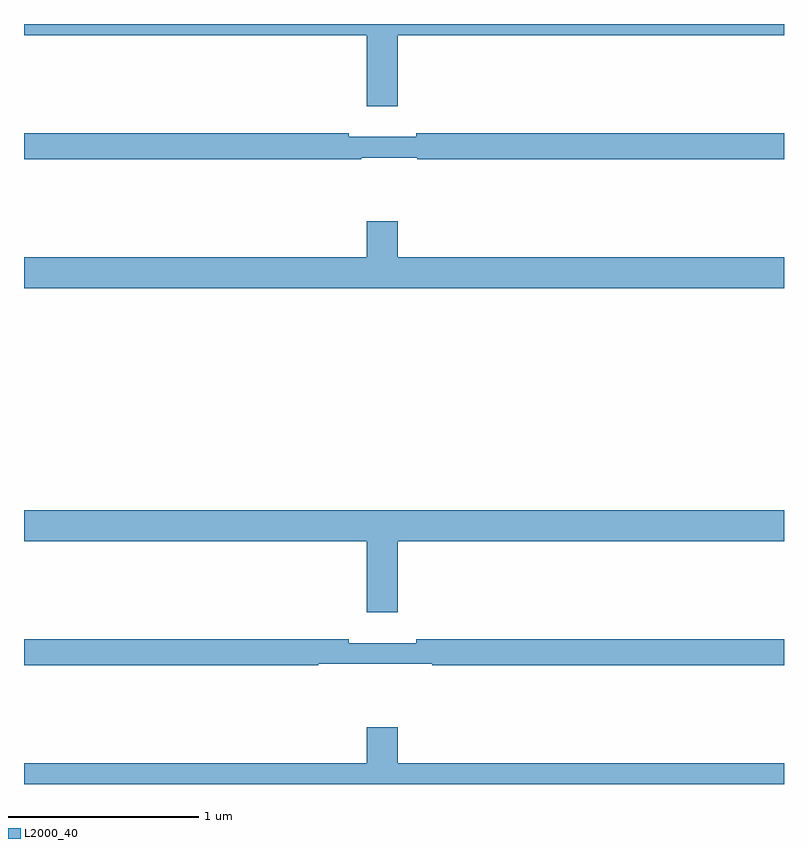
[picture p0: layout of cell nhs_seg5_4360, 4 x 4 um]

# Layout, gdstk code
import gdstk
lib = gdstk.Library(unit=1e-6, precision=1e-09)
def P(c, l, *ps):  # polygons
    for p in ps: c.add(gdstk.Polygon(p, *l))
L2000_40 = (2000, 40)

nhs_seg5_4360 = lib.new_cell('nhs_seg5_4360')
P(nhs_seg5_4360, L2000_40, [(368.968,876.74),(371,876.74),(371,876.799),(367,876.799),(367,876.74),(368.804,876.74),(368.804,876.366),(368.968,876.366)],
  [(368.775,876.096),(369.07,876.096),(369.07,876.088),(371,876.088),(371,876.224),(369.064,876.224),(369.064,876.205),(368.708,876.205),(368.708,876.224),(367,876.224),(367,876.088),(368.775,876.088)],
  [(371,875.572),(368.968,875.572),(368.968,875.761),(368.804,875.761),(368.804,875.572),(367,875.572),(367,875.408),(371,875.408)],
  [(368.968,874.076),(371,874.076),(371,874.24),(367,874.24),(367,874.076),(368.804,874.076),(368.804,873.702),(368.968,873.702)],
  [(368.548,873.432),(369.148,873.432),(369.148,873.424),(371,873.424),(371,873.56),(369.064,873.56),(369.064,873.541),(368.708,873.541),(368.708,873.56),(367,873.56),(367,873.424),(368.548,873.424)],
  [(371,872.908),(368.968,872.908),(368.968,873.097),(368.804,873.097),(368.804,872.908),(367,872.908),(367,872.799),(371,872.799)])

lib.write_gds('nhs_seg5_4360.gds')
